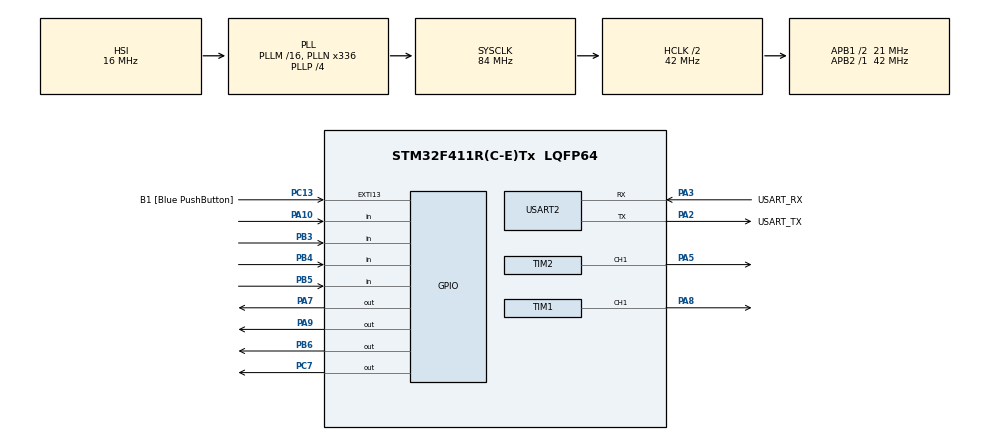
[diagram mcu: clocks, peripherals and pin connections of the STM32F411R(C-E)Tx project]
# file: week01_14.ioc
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Mcu.Family=STM32F4
Mcu.Name=STM32F411R(C-E)Tx
Mcu.Package=LQFP64
NVIC.PriorityGroup=NVIC_PRIORITYGROUP_0
NVIC.TIM1_UP_TIM10_IRQn=true\:0\:0\:false\:false\:true\:true\:true
PA10.Signal=GPIO_Input
PA13.GPIO_Label=TMS
PA13.Mode=Serial_Wire
PA13.Signal=SYS_JTMS-SWDIO
PA14.GPIO_Label=TCK
PA14.Mode=Serial_Wire
PA14.Signal=SYS_JTCK-SWCLK
PA2.GPIO_Label=USART_TX
PA2.Mode=Asynchronous
PA2.Signal=USART2_TX
PA3.GPIO_Label=USART_RX
PA3.Mode=Asynchronous
PA3.Signal=USART2_RX
PA5.Signal=S_TIM2_CH1_ETR
PA7.Signal=GPIO_Output
PA8.Signal=S_TIM1_CH1
PA9.Signal=GPIO_Output
PB3.Signal=GPIO_Input
PB4.Signal=GPIO_Input
PB5.Signal=GPIO_Input
PB6.Signal=GPIO_Output
PC13-ANTI_TAMP.GPIO_Label=B1 [Blue PushButton]
PC13-ANTI_TAMP.GPIO_ModeDefaultEXTI=GPIO_MODE_IT_FALLING
PC13-ANTI_TAMP.Signal=GPXTI13
PC14-OSC32_IN.Mode=LSE-External-Oscillator
PC14-OSC32_IN.Signal=RCC_OSC32_IN
PC15-OSC32_OUT.Mode=LSE-External-Oscillator
PC15-OSC32_OUT.Signal=RCC_OSC32_OUT
PC7.Signal=GPIO_Output
PH0\ -\ OSC_IN.Mode=HSE-External-Clock-Source
PH0\ -\ OSC_IN.Signal=RCC_OSC_IN
PH1\ -\ OSC_OUT.Mode=HSE-External-Clock-Source
PH1\ -\ OSC_OUT.Signal=RCC_OSC_OUT
ProjectManager.HeapSize=0x200
ProjectManager.StackSize=0x400
ProjectManager.TargetToolchain=STM32CubeIDE
RCC.48MHZClocksFreq_Value=84000000
RCC.AHBCLKDivider=RCC_SYSCLK_DIV2
RCC.AHBFreq_Value=42000000
RCC.APB1CLKDivider=RCC_HCLK_DIV2
RCC.APB1Freq_Value=21000000
RCC.APB1TimFreq_Value=42000000
RCC.APB2Freq_Value=42000000
RCC.APB2TimFreq_Value=42000000
RCC.CortexFreq_Value=42000000
RCC.FLatency-AdvancedSettings=FLASH_LATENCY_1
RCC.HCLKFreq_Value=42000000
RCC.HSE_VALUE=8000000
RCC.HSI_VALUE=16000000
RCC.PLLN=336
RCC.PLLP=RCC_PLLP_DIV4
RCC.SYSCLKFreq_VALUE=84000000
RCC.SYSCLKSource=RCC_SYSCLKSOURCE_PLLCLK
RCC.VCOOutputFreq_Value=336000000
SH.S_TIM1_CH1.0=TIM1_CH1,PWM Generation1 CH1
SH.S_TIM2_CH1_ETR.0=TIM2_CH1,PWM Generation1 CH1
TIM1.Channel-PWM\ Generation1\ CH1=TIM_CHANNEL_1
TIM1.Period=500
TIM1.Prescaler=800
TIM2.Channel-PWM\ Generation1\ CH1=TIM_CHANNEL_1
TIM2.Period=62499
TIM2.Prescaler=127
TIM2.Pulse-PWM\ Generation1\ CH1=31250
USART2.VirtualMode=VM_ASYNC
VP_TIM1_VS_ClockSourceINT.Mode=Internal
VP_TIM2_VS_ClockSourceINT.Mode=Internal
board=NUCLEO-F411RE

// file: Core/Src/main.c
/* USER CODE BEGIN Header */
/**
 ******************************************************************************
 * @file           : main.c
 * @brief          : Main program body
 ******************************************************************************
 * @attention
 *
 * <h2><center>&copy; Copyright (c) 2021 STMicroelectronics.
 * All rights reserved.</center></h2>
 *
 * This software component is licensed by ST under BSD 3-Clause license,
 * the "License"; You may not use this file except in compliance with the
 * License. You may obtain a copy of the License at:
 *                        opensource.org/licenses/BSD-3-Clause
 *
 ******************************************************************************
 */
/* USER CODE END Header */
#include "main.h"

TIM_HandleTypeDef htim1;
TIM_HandleTypeDef htim2;

UART_HandleTypeDef huart2;

void SystemClock_Config(void);
static void MX_GPIO_Init(void);
static void MX_USART2_UART_Init(void);
static void MX_TIM2_Init(void);
static void MX_TIM1_Init(void);

int main(void) {

	/* MCU Configuration--------------------------------------------------------*/

	/* Reset of all peripherals, Initializes the Flash interface and the Systick. */
	HAL_Init();

	/* Configure the system clock */
	SystemClock_Config();

	/* Initialize all configured peripherals */
	MX_GPIO_Init();
	MX_USART2_UART_Init();
	MX_TIM2_Init();
	MX_TIM1_Init();
	/* USER CODE BEGIN 2 */
#define PWM_MIN 0
#define PWM_MAX 100
#define PWM_MIN_CHANGE 25
	GPIO_PinState clk[2];               //now,last
	GPIO_PinState clk2[2];
	GPIO_PinState clk3[2];
	GPIO_PinState clk4[2];
	//uint8_t ui8TimPulse = 0;
	uint32_t x = 1;
	uint32_t y = 1;
	uint32_t z = 0;
	uint16_t LED_HalfPeriod = 1000;           //1Hz
	uint32_t count = 0;
	uint32_t count3 = 0;
	uint32_t tbotton = 0;

	/* USER CODE END 2 */

	/* Infinite loop */
	while (1) {

		/* USER CODE BEGIN 3 */

		//TIM2->CCR2 = (htim2.Init.Period * ui8TimPulse) / 100u;
		if (HAL_GetTick() - tbotton >= 100) {
			clk[0] = HAL_GPIO_ReadPin(GPIOA, GPIO_PIN_10);
			clk2[0] = HAL_GPIO_ReadPin(GPIOB, GPIO_PIN_3);
			clk3[0] = HAL_GPIO_ReadPin(GPIOB, GPIO_PIN_5);
			//clk4[0] = HAL_GPIO_ReadPin(GPIOB, GPIO_PIN_4);
			if (clk2[1] == GPIO_PIN_SET && clk2[0] == GPIO_PIN_RESET) {
				if (x == 1) {
					HAL_GPIO_WritePin(GPIOC, GPIO_PIN_7, 0);
					x = 0;
				} else {
					HAL_GPIO_WritePin(GPIOC, GPIO_PIN_7, 1);
					x = 1;
				}
			}
			if (clk3[0] == GPIO_PIN_RESET && clk3[1] == GPIO_PIN_SET) {
				if (y == 1) {

					y = 0;
				} else {

					y = 1;
				}
			}
			if (clk4[0] == GPIO_PIN_RESET && clk4[1] == GPIO_PIN_SET) {
				if (z == 0) {
					HAL_GPIO_WritePin(GPIOA, GPIO_PIN_7, 1);

					z = 25;
				}
				if (z == 25) {
					HAL_GPIO_WritePin(GPIOA, GPIO_PIN_7, 0);

					z = 50;
				}
				if (z == 50) {
					HAL_GPIO_WritePin(GPIOA, GPIO_PIN_7, 1);

					z = 75;
				}
				if (z == 75) {
					HAL_GPIO_WritePin(GPIOA, GPIO_PIN_7, 0);

					z = 100;
				} else {
					HAL_GPIO_WritePin(GPIOA, GPIO_PIN_7, 1);

					z = 0;
				}
			}
			if (clk[0] == GPIO_PIN_RESET && clk[1] == GPIO_PIN_SET) {
				if (LED_HalfPeriod == 1000) {
					LED_HalfPeriod = 500;
				} else if (LED_HalfPeriod == 500) {
					LED_HalfPeriod = 250;
				} else if (LED_HalfPeriod == 250) {
					LED_HalfPeriod = 500 / 3;
				}

				else {
					LED_HalfPeriod = 1000;
				}
			}
			clk[1] = clk[0];
			clk2[1] = clk2[0];
			clk3[1] = clk3[0];
			clk4[1] = clk4[0];
		}
		if (y == 0) {
			if (HAL_GetTick() - count3 >= 1500) {

				if (HAL_GPIO_ReadPin(GPIOB, GPIO_PIN_6) == 1) {
					HAL_GPIO_WritePin(GPIOB, GPIO_PIN_6, 0);
					count3 = HAL_GetTick();
				}
			}

			if (HAL_GetTick() - count3 >= 500) {

				if (HAL_GPIO_ReadPin(GPIOB, GPIO_PIN_6) == 0) {
					HAL_GPIO_WritePin(GPIOB, GPIO_PIN_6, 1);
					count3 = HAL_GetTick();
				}

			}

		}
		if (y == 1) {
			if (HAL_GetTick() - count3 >= 500) {

				if (HAL_GPIO_ReadPin(GPIOB, GPIO_PIN_6) == 1) {
					HAL_GPIO_WritePin(GPIOB, GPIO_PIN_6, 0);
					count3 = HAL_GetTick();
				}
			}

			if (HAL_GetTick() - count3 >= 1500) {

				if (HAL_GPIO_ReadPin(GPIOB, GPIO_PIN_6) == 0) {
					HAL_GPIO_WritePin(GPIOB, GPIO_PIN_6, 1);
					count3 = HAL_GetTick();
				}

			}

		}

		if (HAL_GetTick() - count >= LED_HalfPeriod) {
			count = HAL_GetTick();
			if (HAL_GPIO_ReadPin(GPIOA, GPIO_PIN_9) == 1) {
				HAL_GPIO_WritePin(GPIOA, GPIO_PIN_9, 0);
			} else {
				HAL_GPIO_WritePin(GPIOA, GPIO_PIN_9, 1);
			}

		}

	}
	/* USER CODE END 3 */
}

void SystemClock_Config(void) {
	RCC_OscInitTypeDef RCC_OscInitStruct = { 0 };
	RCC_ClkInitTypeDef RCC_ClkInitStruct = { 0 };

	/** Configure the main internal regulator output voltage
	 */
	__HAL_RCC_PWR_CLK_ENABLE();
	__HAL_PWR_VOLTAGESCALING_CONFIG(PWR_REGULATOR_VOLTAGE_SCALE1);
	/** Initializes the RCC Oscillators according to the specified parameters
	 * in the RCC_OscInitTypeDef structure.
	 */
	RCC_OscInitStruct.OscillatorType = RCC_OSCILLATORTYPE_HSI;
	RCC_OscInitStruct.HSIState = RCC_HSI_ON;
	RCC_OscInitStruct.HSICalibrationValue = RCC_HSICALIBRATION_DEFAULT;
	RCC_OscInitStruct.PLL.PLLState = RCC_PLL_ON;
	RCC_OscInitStruct.PLL.PLLSource = RCC_PLLSOURCE_HSI;
	RCC_OscInitStruct.PLL.PLLM = 16;
	RCC_OscInitStruct.PLL.PLLN = 336;
	RCC_OscInitStruct.PLL.PLLP = RCC_PLLP_DIV4;
	RCC_OscInitStruct.PLL.PLLQ = 4;
	if (HAL_RCC_OscConfig(&RCC_OscInitStruct) != HAL_OK) {
		Error_Handler();
	}
	/** Initializes the CPU, AHB and APB buses clocks
	 */
	RCC_ClkInitStruct.ClockType = RCC_CLOCKTYPE_HCLK | RCC_CLOCKTYPE_SYSCLK
			| RCC_CLOCKTYPE_PCLK1 | RCC_CLOCKTYPE_PCLK2;
	RCC_ClkInitStruct.SYSCLKSource = RCC_SYSCLKSOURCE_PLLCLK;
	RCC_ClkInitStruct.AHBCLKDivider = RCC_SYSCLK_DIV2;
	RCC_ClkInitStruct.APB1CLKDivider = RCC_HCLK_DIV2;
	RCC_ClkInitStruct.APB2CLKDivider = RCC_HCLK_DIV1;

	if (HAL_RCC_ClockConfig(&RCC_ClkInitStruct, FLASH_LATENCY_1) != HAL_OK) {
		Error_Handler();
	}
}

static void MX_TIM1_Init(void) {

	TIM_ClockConfigTypeDef sClockSourceConfig = { 0 };
	TIM_MasterConfigTypeDef sMasterConfig = { 0 };
	TIM_OC_InitTypeDef sConfigOC = { 0 };
	TIM_BreakDeadTimeConfigTypeDef sBreakDeadTimeConfig = { 0 };

	htim1.Instance = TIM1;
	htim1.Init.Prescaler = 800;
	htim1.Init.CounterMode = TIM_COUNTERMODE_UP;
	htim1.Init.Period = 500;
	htim1.Init.ClockDivision = TIM_CLOCKDIVISION_DIV1;
	htim1.Init.RepetitionCounter = 0;
	htim1.Init.AutoReloadPreload = TIM_AUTORELOAD_PRELOAD_DISABLE;
	if (HAL_TIM_Base_Init(&htim1) != HAL_OK) {
		Error_Handler();
	}
	sClockSourceConfig.ClockSource = TIM_CLOCKSOURCE_INTERNAL;
	if (HAL_TIM_ConfigClockSource(&htim1, &sClockSourceConfig) != HAL_OK) {
		Error_Handler();
	}
	if (HAL_TIM_PWM_Init(&htim1) != HAL_OK) {
		Error_Handler();
	}
	sMasterConfig.MasterOutputTrigger = TIM_TRGO_RESET;
	sMasterConfig.MasterSlaveMode = TIM_MASTERSLAVEMODE_DISABLE;
	if (HAL_TIMEx_MasterConfigSynchronization(&htim1, &sMasterConfig)
			!= HAL_OK) {
		Error_Handler();
	}
	sConfigOC.OCMode = TIM_OCMODE_PWM1;
	sConfigOC.Pulse = 0;
	sConfigOC.OCPolarity = TIM_OCPOLARITY_HIGH;
	sConfigOC.OCNPolarity = TIM_OCNPOLARITY_HIGH;
	sConfigOC.OCFastMode = TIM_OCFAST_DISABLE;
	sConfigOC.OCIdleState = TIM_OCIDLESTATE_RESET;
	sConfigOC.OCNIdleState = TIM_OCNIDLESTATE_RESET;
	if (HAL_TIM_PWM_ConfigChannel(&htim1, &sConfigOC, TIM_CHANNEL_1)
			!= HAL_OK) {
		Error_Handler();
	}
	sBreakDeadTimeConfig.OffStateRunMode = TIM_OSSR_DISABLE;
	sBreakDeadTimeConfig.OffStateIDLEMode = TIM_OSSI_DISABLE;
	sBreakDeadTimeConfig.LockLevel = TIM_LOCKLEVEL_OFF;
	sBreakDeadTimeConfig.DeadTime = 0;
	sBreakDeadTimeConfig.BreakState = TIM_BREAK_DISABLE;
	sBreakDeadTimeConfig.BreakPolarity = TIM_BREAKPOLARITY_HIGH;
	sBreakDeadTimeConfig.AutomaticOutput = TIM_AUTOMATICOUTPUT_DISABLE;
	if (HAL_TIMEx_ConfigBreakDeadTime(&htim1, &sBreakDeadTimeConfig)
			!= HAL_OK) {
		Error_Handler();
	}
	HAL_TIM_MspPostInit(&htim1);

}

static void MX_TIM2_Init(void) {

	TIM_ClockConfigTypeDef sClockSourceConfig = { 0 };
	TIM_MasterConfigTypeDef sMasterConfig = { 0 };
	TIM_OC_InitTypeDef sConfigOC = { 0 };

	htim2.Instance = TIM2;
	htim2.Init.Prescaler = 127;
	htim2.Init.CounterMode = TIM_COUNTERMODE_UP;
	htim2.Init.Period = 62499;
	htim2.Init.ClockDivision = TIM_CLOCKDIVISION_DIV1;
	htim2.Init.AutoReloadPreload = TIM_AUTORELOAD_PRELOAD_DISABLE;
	if (HAL_TIM_Base_Init(&htim2) != HAL_OK) {
		Error_Handler();
	}
	sClockSourceConfig.ClockSource = TIM_CLOCKSOURCE_INTERNAL;
	if (HAL_TIM_ConfigClockSource(&htim2, &sClockSourceConfig) != HAL_OK) {
		Error_Handler();
	}
	if (HAL_TIM_PWM_Init(&htim2) != HAL_OK) {
		Error_Handler();
	}
	sMasterConfig.MasterOutputTrigger = TIM_TRGO_RESET;
	sMasterConfig.MasterSlaveMode = TIM_MASTERSLAVEMODE_DISABLE;
	if (HAL_TIMEx_MasterConfigSynchronization(&htim2, &sMasterConfig)
			!= HAL_OK) {
		Error_Handler();
	}
	sConfigOC.OCMode = TIM_OCMODE_PWM1;
	sConfigOC.Pulse = 31250;
	sConfigOC.OCPolarity = TIM_OCPOLARITY_HIGH;
	sConfigOC.OCFastMode = TIM_OCFAST_DISABLE;
	if (HAL_TIM_PWM_ConfigChannel(&htim2, &sConfigOC, TIM_CHANNEL_1)
			!= HAL_OK) {
		Error_Handler();
	}
	HAL_TIM_MspPostInit(&htim2);

}

static void MX_USART2_UART_Init(void) {

	huart2.Instance = USART2;
	huart2.Init.BaudRate = 115200;
	huart2.Init.WordLength = UART_WORDLENGTH_8B;
	huart2.Init.StopBits = UART_STOPBITS_1;
	huart2.Init.Parity = UART_PARITY_NONE;
	huart2.Init.Mode = UART_MODE_TX_RX;
	huart2.Init.HwFlowCtl = UART_HWCONTROL_NONE;
	huart2.Init.OverSampling = UART_OVERSAMPLING_16;
	if (HAL_UART_Init(&huart2) != HAL_OK) {
		Error_Handler();
	}

}

static void MX_GPIO_Init(void) {
	GPIO_InitTypeDef GPIO_InitStruct = { 0 };

	/* GPIO Ports Clock Enable */
	__HAL_RCC_GPIOC_CLK_ENABLE();
	__HAL_RCC_GPIOH_CLK_ENABLE();
	__HAL_RCC_GPIOA_CLK_ENABLE();
	__HAL_RCC_GPIOB_CLK_ENABLE();

	/*Configure GPIO pin Output Level */
	HAL_GPIO_WritePin(GPIOA, GPIO_PIN_7 | GPIO_PIN_9, GPIO_PIN_RESET);

	/*Configure GPIO pin Output Level */
	HAL_GPIO_WritePin(GPIOC, GPIO_PIN_7, GPIO_PIN_RESET);

	/*Configure GPIO pin Output Level */
	HAL_GPIO_WritePin(GPIOB, GPIO_PIN_6, GPIO_PIN_RESET);

	/*Configure GPIO pin : B1_Pin */
	GPIO_InitStruct.Pin = B1_Pin;
	GPIO_InitStruct.Mode = GPIO_MODE_IT_FALLING;
	GPIO_InitStruct.Pull = GPIO_NOPULL;
	HAL_GPIO_Init(B1_GPIO_Port, &GPIO_InitStruct);

	/*Configure GPIO pins : PA7 PA9 */
	GPIO_InitStruct.Pin = GPIO_PIN_7 | GPIO_PIN_9;
	GPIO_InitStruct.Mode = GPIO_MODE_OUTPUT_PP;
	GPIO_InitStruct.Pull = GPIO_NOPULL;
	GPIO_InitStruct.Speed = GPIO_SPEED_FREQ_LOW;
	HAL_GPIO_Init(GPIOA, &GPIO_InitStruct);

	/*Configure GPIO pin : PC7 */
	GPIO_InitStruct.Pin = GPIO_PIN_7;
	GPIO_InitStruct.Mode = GPIO_MODE_OUTPUT_PP;
	GPIO_InitStruct.Pull = GPIO_NOPULL;
	GPIO_InitStruct.Speed = GPIO_SPEED_FREQ_LOW;
	HAL_GPIO_Init(GPIOC, &GPIO_InitStruct);

	/*Configure GPIO pin : PA10 */
	GPIO_InitStruct.Pin = GPIO_PIN_10;
	GPIO_InitStruct.Mode = GPIO_MODE_INPUT;
	GPIO_InitStruct.Pull = GPIO_NOPULL;
	HAL_GPIO_Init(GPIOA, &GPIO_InitStruct);

	/*Configure GPIO pins : PB3 PB4 PB5 */
	GPIO_InitStruct.Pin = GPIO_PIN_3 | GPIO_PIN_4 | GPIO_PIN_5;
	GPIO_InitStruct.Mode = GPIO_MODE_INPUT;
	GPIO_InitStruct.Pull = GPIO_NOPULL;
	HAL_GPIO_Init(GPIOB, &GPIO_InitStruct);

	/*Configure GPIO pin : PB6 */
	GPIO_InitStruct.Pin = GPIO_PIN_6;
	GPIO_InitStruct.Mode = GPIO_MODE_OUTPUT_PP;
	GPIO_InitStruct.Pull = GPIO_NOPULL;
	GPIO_InitStruct.Speed = GPIO_SPEED_FREQ_LOW;
	HAL_GPIO_Init(GPIOB, &GPIO_InitStruct);

}

void Error_Handler(void) {
	__disable_irq();
	while (1) {
	}
}

/************************ (C) COPYRIGHT STMicroelectronics *****END OF FILE****/
